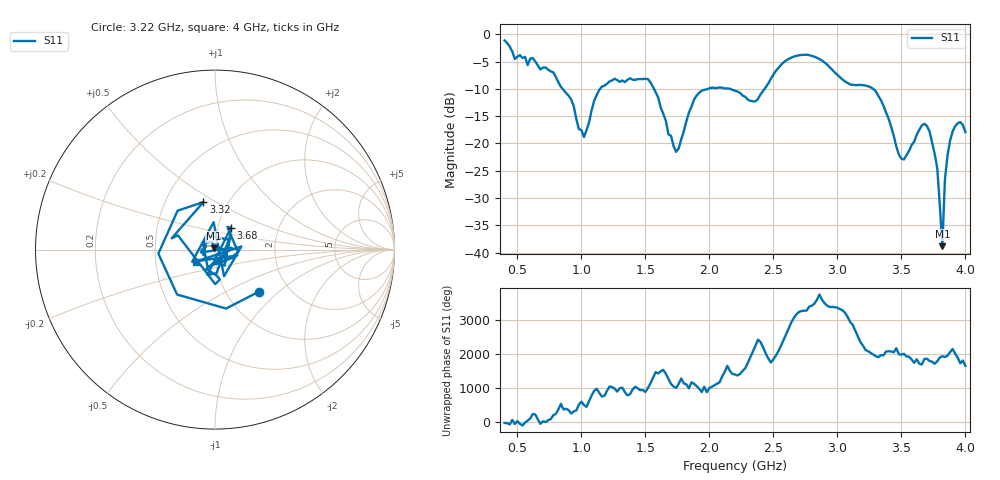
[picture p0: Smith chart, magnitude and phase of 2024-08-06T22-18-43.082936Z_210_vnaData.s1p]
!Created with skrf (http://scikit-rf.org).
# Hz S RI R 50.0
!freq ReS11 ImS11
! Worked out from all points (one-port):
!   181 points, 400 MHz to 4 GHz, reference 50 ohm
!   lowest |S11| = -38.8 dB at 3.82 GHz (marker M1), VSWR 1.02, Z = 49.2 + j0.82 ohm
!   |S11| at or under -10 dB: 853.2 MHz to 1.146 GHz (292.4 MHz wide, 29.3 % of centre); 1.567 GHz to 1.988 GHz (421.3 MHz wide, 23.7 % of centre); 3.28 GHz to end of sweep (the widest 3 of 4)
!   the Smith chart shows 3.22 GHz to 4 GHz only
!   S11 on the Smith chart (normalised r, x): 3.22 GHz: 1.42, -0.75; 3.32 GHz: 0.77, +0.44; 3.68 GHz: 1.16, +0.29; 4 GHz: 0.80, -0.11
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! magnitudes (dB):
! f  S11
! 400 MHz  -1.1
! 480 MHz  -4.5
! 620 MHz  -4.4
! 860 MHz  -10.2
! 1.02 GHz  -18.8
! 1.14 GHz  -10.2
! 1.3 GHz  -8.7
! 1.52 GHz  -8.2
! 1.72 GHz  -20.5
! 1.76 GHz  -20.9
! 1.92 GHz  -10.7
! 2.2 GHz  -10.3
! 2.36 GHz  -12.3
! 2.66 GHz  -4.1
! 2.86 GHz  -4.5
! 3.1 GHz  -9.2
! 3.22 GHz  -9.4
! 3.32 GHz  -11.3
! 3.48 GHz  -22.1
! 3.56 GHz  -21.3
! 3.68 GHz  -16.4
! 3.72 GHz  -17.8
! 3.78 GHz  -24.5
! 3.82 GHz  -38.8
! 3.84 GHz  -26.6
! 3.88 GHz  -19.5
! 3.94 GHz  -16.3
! 4 GHz  -17.9
